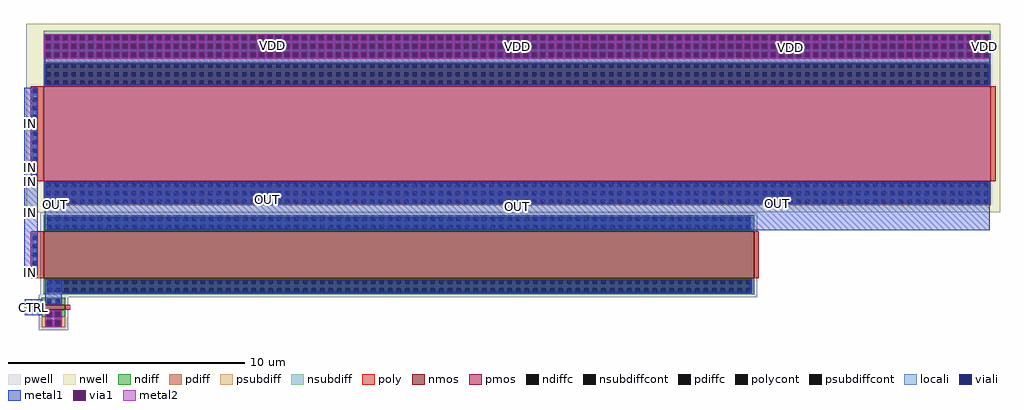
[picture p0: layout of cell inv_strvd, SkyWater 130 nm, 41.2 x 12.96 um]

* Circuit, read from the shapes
.subckt inv_strvd CTRL OUT IN VSS VDD
XM1 n1 CTRL VSS VSS sky130_fd_pr__nfet_01v8 w=1 l=0.2
XM2 OUT IN n1 VSS sky130_fd_pr__nfet_01v8 w=30 l=2
XM3 VDD IN OUT VDD sky130_fd_pr__pfet_01v8 w=40 l=4
.ends

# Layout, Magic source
magic
tech sky130A
magscale 1 2
<< viali >>
rect 188 2309 8142 2487
rect 196 53 230 87
rect 268 53 302 87
<< metal1 >>
rect 172 2444 179 2496
rect 231 2487 251 2496
rect 303 2487 323 2496
rect 375 2487 395 2496
rect 447 2487 467 2496
rect 519 2487 539 2496
rect 591 2487 611 2496
rect 663 2487 683 2496
rect 735 2487 755 2496
rect 807 2487 827 2496
rect 879 2487 899 2496
rect 951 2487 971 2496
rect 1023 2487 1043 2496
rect 1095 2487 1115 2496
rect 1167 2487 1187 2496
rect 1239 2487 1259 2496
rect 1311 2487 1331 2496
rect 1383 2487 1403 2496
rect 1455 2487 1475 2496
rect 1527 2487 1547 2496
rect 1599 2487 1619 2496
rect 1671 2487 1691 2496
rect 1743 2487 1763 2496
rect 1815 2487 1835 2496
rect 1887 2487 1907 2496
rect 1959 2487 1979 2496
rect 2031 2487 2051 2496
rect 2103 2487 2123 2496
rect 2175 2487 2195 2496
rect 2247 2487 2267 2496
rect 2319 2487 2339 2496
rect 2391 2487 2411 2496
rect 2463 2487 2483 2496
rect 2535 2487 2555 2496
rect 2607 2487 2627 2496
rect 2679 2487 2699 2496
rect 2751 2487 2771 2496
rect 2823 2487 2843 2496
rect 2895 2487 2915 2496
rect 2967 2487 2987 2496
rect 3039 2487 3059 2496
rect 3111 2487 3131 2496
rect 3183 2487 3203 2496
rect 3255 2487 3275 2496
rect 3327 2487 3347 2496
rect 3399 2487 3419 2496
rect 3471 2487 3491 2496
rect 3543 2487 3563 2496
rect 3615 2487 3635 2496
rect 3687 2487 3707 2496
rect 3759 2487 3779 2496
rect 3831 2487 3851 2496
rect 3903 2487 3923 2496
rect 3975 2487 3995 2496
rect 4047 2487 4067 2496
rect 4119 2487 4139 2496
rect 4191 2487 4211 2496
rect 4263 2487 4283 2496
rect 4335 2487 4355 2496
rect 4407 2487 4427 2496
rect 4479 2487 4499 2496
rect 4551 2487 4571 2496
rect 4623 2487 4643 2496
rect 4695 2487 4715 2496
rect 4767 2487 4787 2496
rect 4839 2487 4859 2496
rect 4911 2487 4931 2496
rect 4983 2487 5003 2496
rect 5055 2487 5075 2496
rect 5127 2487 5147 2496
rect 5199 2487 5219 2496
rect 5271 2487 5291 2496
rect 5343 2487 5363 2496
rect 5415 2487 5435 2496
rect 5487 2487 5507 2496
rect 5559 2487 5579 2496
rect 5631 2487 5651 2496
rect 5703 2487 5723 2496
rect 5775 2487 5795 2496
rect 5847 2487 5867 2496
rect 5919 2487 5939 2496
rect 5991 2487 6011 2496
rect 6063 2487 6083 2496
rect 6135 2487 6155 2496
rect 6207 2487 6227 2496
rect 6279 2487 6299 2496
rect 6351 2487 6371 2496
rect 6423 2487 6443 2496
rect 6495 2487 6515 2496
rect 6567 2487 6587 2496
rect 6639 2487 6659 2496
rect 6711 2487 6731 2496
rect 6783 2487 6803 2496
rect 6855 2487 6875 2496
rect 6927 2487 6947 2496
rect 6999 2487 7019 2496
rect 7071 2487 7091 2496
rect 7143 2487 7163 2496
rect 7215 2487 7235 2496
rect 7287 2487 7307 2496
rect 7359 2487 7379 2496
rect 7431 2487 7451 2496
rect 7503 2487 7523 2496
rect 7575 2487 7595 2496
rect 7647 2487 7667 2496
rect 7719 2487 7739 2496
rect 7791 2487 7811 2496
rect 7863 2487 7883 2496
rect 7935 2487 7955 2496
rect 8007 2487 8027 2496
rect 8079 2487 8099 2496
rect 8151 2444 8158 2496
rect 172 2424 188 2444
rect 8142 2424 8158 2444
rect 172 2372 179 2424
rect 8151 2372 8158 2424
rect 172 2352 188 2372
rect 8142 2352 8158 2372
rect 172 2309 179 2352
rect 8151 2309 8158 2352
rect 176 2300 179 2309
rect 231 2300 251 2309
rect 303 2300 323 2309
rect 375 2300 395 2309
rect 447 2300 467 2309
rect 519 2300 539 2309
rect 591 2300 611 2309
rect 663 2300 683 2309
rect 735 2300 755 2309
rect 807 2300 827 2309
rect 879 2300 899 2309
rect 951 2300 971 2309
rect 1023 2300 1043 2309
rect 1095 2300 1115 2309
rect 1167 2300 1187 2309
rect 1239 2300 1259 2309
rect 1311 2300 1331 2309
rect 1383 2300 1403 2309
rect 1455 2300 1475 2309
rect 1527 2300 1547 2309
rect 1599 2300 1619 2309
rect 1671 2300 1691 2309
rect 1743 2300 1763 2309
rect 1815 2300 1835 2309
rect 1887 2300 1907 2309
rect 1959 2300 1979 2309
rect 2031 2300 2051 2309
rect 2103 2300 2123 2309
rect 2175 2300 2195 2309
rect 2247 2300 2267 2309
rect 2319 2300 2339 2309
rect 2391 2300 2411 2309
rect 2463 2300 2483 2309
rect 2535 2300 2555 2309
rect 2607 2300 2627 2309
rect 2679 2300 2699 2309
rect 2751 2300 2771 2309
rect 2823 2300 2843 2309
rect 2895 2300 2915 2309
rect 2967 2300 2987 2309
rect 3039 2300 3059 2309
rect 3111 2300 3131 2309
rect 3183 2300 3203 2309
rect 3255 2300 3275 2309
rect 3327 2300 3347 2309
rect 3399 2300 3419 2309
rect 3471 2300 3491 2309
rect 3543 2300 3563 2309
rect 3615 2300 3635 2309
rect 3687 2300 3707 2309
rect 3759 2300 3779 2309
rect 3831 2300 3851 2309
rect 3903 2300 3923 2309
rect 3975 2300 3995 2309
rect 4047 2300 4067 2309
rect 4119 2300 4139 2309
rect 4191 2300 4211 2309
rect 4263 2300 4283 2309
rect 4335 2300 4355 2309
rect 4407 2300 4427 2309
rect 4479 2300 4499 2309
rect 4551 2300 4571 2309
rect 4623 2300 4643 2309
rect 4695 2300 4715 2309
rect 4767 2300 4787 2309
rect 4839 2300 4859 2309
rect 4911 2300 4931 2309
rect 4983 2300 5003 2309
rect 5055 2300 5075 2309
rect 5127 2300 5147 2309
rect 5199 2300 5219 2309
rect 5271 2300 5291 2309
rect 5343 2300 5363 2309
rect 5415 2300 5435 2309
rect 5487 2300 5507 2309
rect 5559 2300 5579 2309
rect 5631 2300 5651 2309
rect 5703 2300 5723 2309
rect 5775 2300 5795 2309
rect 5847 2300 5867 2309
rect 5919 2300 5939 2309
rect 5991 2300 6011 2309
rect 6063 2300 6083 2309
rect 6135 2300 6155 2309
rect 6207 2300 6227 2309
rect 6279 2300 6299 2309
rect 6351 2300 6371 2309
rect 6423 2300 6443 2309
rect 6495 2300 6515 2309
rect 6567 2300 6587 2309
rect 6639 2300 6659 2309
rect 6711 2300 6731 2309
rect 6783 2300 6803 2309
rect 6855 2300 6875 2309
rect 6927 2300 6947 2309
rect 6999 2300 7019 2309
rect 7071 2300 7091 2309
rect 7143 2300 7163 2309
rect 7215 2300 7235 2309
rect 7287 2300 7307 2309
rect 7359 2300 7379 2309
rect 7431 2300 7451 2309
rect 7503 2300 7523 2309
rect 7575 2300 7595 2309
rect 7647 2300 7667 2309
rect 7719 2300 7739 2309
rect 7791 2300 7811 2309
rect 7863 2300 7883 2309
rect 7935 2300 7955 2309
rect 8007 2300 8027 2309
rect 8079 2300 8099 2309
rect 8151 2300 8154 2309
rect 176 2258 8154 2300
rect 0 466 115 2050
rect 176 846 8154 1254
rect 8 127 144 263
rect 180 222 318 432
rect 180 162 318 168
rect 180 110 186 162
rect 238 110 260 162
rect 312 110 318 162
rect 180 88 318 110
rect 180 36 186 88
rect 238 36 260 88
rect 312 36 318 88
rect 180 30 318 36
<< via1 >>
rect 179 2487 231 2496
rect 251 2487 303 2496
rect 323 2487 375 2496
rect 395 2487 447 2496
rect 467 2487 519 2496
rect 539 2487 591 2496
rect 611 2487 663 2496
rect 683 2487 735 2496
rect 755 2487 807 2496
rect 827 2487 879 2496
rect 899 2487 951 2496
rect 971 2487 1023 2496
rect 1043 2487 1095 2496
rect 1115 2487 1167 2496
rect 1187 2487 1239 2496
rect 1259 2487 1311 2496
rect 1331 2487 1383 2496
rect 1403 2487 1455 2496
rect 1475 2487 1527 2496
rect 1547 2487 1599 2496
rect 1619 2487 1671 2496
rect 1691 2487 1743 2496
rect 1763 2487 1815 2496
rect 1835 2487 1887 2496
rect 1907 2487 1959 2496
rect 1979 2487 2031 2496
rect 2051 2487 2103 2496
rect 2123 2487 2175 2496
rect 2195 2487 2247 2496
rect 2267 2487 2319 2496
rect 2339 2487 2391 2496
rect 2411 2487 2463 2496
rect 2483 2487 2535 2496
rect 2555 2487 2607 2496
rect 2627 2487 2679 2496
rect 2699 2487 2751 2496
rect 2771 2487 2823 2496
rect 2843 2487 2895 2496
rect 2915 2487 2967 2496
rect 2987 2487 3039 2496
rect 3059 2487 3111 2496
rect 3131 2487 3183 2496
rect 3203 2487 3255 2496
rect 3275 2487 3327 2496
rect 3347 2487 3399 2496
rect 3419 2487 3471 2496
rect 3491 2487 3543 2496
rect 3563 2487 3615 2496
rect 3635 2487 3687 2496
rect 3707 2487 3759 2496
rect 3779 2487 3831 2496
rect 3851 2487 3903 2496
rect 3923 2487 3975 2496
rect 3995 2487 4047 2496
rect 4067 2487 4119 2496
rect 4139 2487 4191 2496
rect 4211 2487 4263 2496
rect 4283 2487 4335 2496
rect 4355 2487 4407 2496
rect 4427 2487 4479 2496
rect 4499 2487 4551 2496
rect 4571 2487 4623 2496
rect 4643 2487 4695 2496
rect 4715 2487 4767 2496
rect 4787 2487 4839 2496
rect 4859 2487 4911 2496
rect 4931 2487 4983 2496
rect 5003 2487 5055 2496
rect 5075 2487 5127 2496
rect 5147 2487 5199 2496
rect 5219 2487 5271 2496
rect 5291 2487 5343 2496
rect 5363 2487 5415 2496
rect 5435 2487 5487 2496
rect 5507 2487 5559 2496
rect 5579 2487 5631 2496
rect 5651 2487 5703 2496
rect 5723 2487 5775 2496
rect 5795 2487 5847 2496
rect 5867 2487 5919 2496
rect 5939 2487 5991 2496
rect 6011 2487 6063 2496
rect 6083 2487 6135 2496
rect 6155 2487 6207 2496
rect 6227 2487 6279 2496
rect 6299 2487 6351 2496
rect 6371 2487 6423 2496
rect 6443 2487 6495 2496
rect 6515 2487 6567 2496
rect 6587 2487 6639 2496
rect 6659 2487 6711 2496
rect 6731 2487 6783 2496
rect 6803 2487 6855 2496
rect 6875 2487 6927 2496
rect 6947 2487 6999 2496
rect 7019 2487 7071 2496
rect 7091 2487 7143 2496
rect 7163 2487 7215 2496
rect 7235 2487 7287 2496
rect 7307 2487 7359 2496
rect 7379 2487 7431 2496
rect 7451 2487 7503 2496
rect 7523 2487 7575 2496
rect 7595 2487 7647 2496
rect 7667 2487 7719 2496
rect 7739 2487 7791 2496
rect 7811 2487 7863 2496
rect 7883 2487 7935 2496
rect 7955 2487 8007 2496
rect 8027 2487 8079 2496
rect 8099 2487 8151 2496
rect 179 2444 188 2487
rect 188 2444 231 2487
rect 251 2444 303 2487
rect 323 2444 375 2487
rect 395 2444 447 2487
rect 467 2444 519 2487
rect 539 2444 591 2487
rect 611 2444 663 2487
rect 683 2444 735 2487
rect 755 2444 807 2487
rect 827 2444 879 2487
rect 899 2444 951 2487
rect 971 2444 1023 2487
rect 1043 2444 1095 2487
rect 1115 2444 1167 2487
rect 1187 2444 1239 2487
rect 1259 2444 1311 2487
rect 1331 2444 1383 2487
rect 1403 2444 1455 2487
rect 1475 2444 1527 2487
rect 1547 2444 1599 2487
rect 1619 2444 1671 2487
rect 1691 2444 1743 2487
rect 1763 2444 1815 2487
rect 1835 2444 1887 2487
rect 1907 2444 1959 2487
rect 1979 2444 2031 2487
rect 2051 2444 2103 2487
rect 2123 2444 2175 2487
rect 2195 2444 2247 2487
rect 2267 2444 2319 2487
rect 2339 2444 2391 2487
rect 2411 2444 2463 2487
rect 2483 2444 2535 2487
rect 2555 2444 2607 2487
rect 2627 2444 2679 2487
rect 2699 2444 2751 2487
rect 2771 2444 2823 2487
rect 2843 2444 2895 2487
rect 2915 2444 2967 2487
rect 2987 2444 3039 2487
rect 3059 2444 3111 2487
rect 3131 2444 3183 2487
rect 3203 2444 3255 2487
rect 3275 2444 3327 2487
rect 3347 2444 3399 2487
rect 3419 2444 3471 2487
rect 3491 2444 3543 2487
rect 3563 2444 3615 2487
rect 3635 2444 3687 2487
rect 3707 2444 3759 2487
rect 3779 2444 3831 2487
rect 3851 2444 3903 2487
rect 3923 2444 3975 2487
rect 3995 2444 4047 2487
rect 4067 2444 4119 2487
rect 4139 2444 4191 2487
rect 4211 2444 4263 2487
rect 4283 2444 4335 2487
rect 4355 2444 4407 2487
rect 4427 2444 4479 2487
rect 4499 2444 4551 2487
rect 4571 2444 4623 2487
rect 4643 2444 4695 2487
rect 4715 2444 4767 2487
rect 4787 2444 4839 2487
rect 4859 2444 4911 2487
rect 4931 2444 4983 2487
rect 5003 2444 5055 2487
rect 5075 2444 5127 2487
rect 5147 2444 5199 2487
rect 5219 2444 5271 2487
rect 5291 2444 5343 2487
rect 5363 2444 5415 2487
rect 5435 2444 5487 2487
rect 5507 2444 5559 2487
rect 5579 2444 5631 2487
rect 5651 2444 5703 2487
rect 5723 2444 5775 2487
rect 5795 2444 5847 2487
rect 5867 2444 5919 2487
rect 5939 2444 5991 2487
rect 6011 2444 6063 2487
rect 6083 2444 6135 2487
rect 6155 2444 6207 2487
rect 6227 2444 6279 2487
rect 6299 2444 6351 2487
rect 6371 2444 6423 2487
rect 6443 2444 6495 2487
rect 6515 2444 6567 2487
rect 6587 2444 6639 2487
rect 6659 2444 6711 2487
rect 6731 2444 6783 2487
rect 6803 2444 6855 2487
rect 6875 2444 6927 2487
rect 6947 2444 6999 2487
rect 7019 2444 7071 2487
rect 7091 2444 7143 2487
rect 7163 2444 7215 2487
rect 7235 2444 7287 2487
rect 7307 2444 7359 2487
rect 7379 2444 7431 2487
rect 7451 2444 7503 2487
rect 7523 2444 7575 2487
rect 7595 2444 7647 2487
rect 7667 2444 7719 2487
rect 7739 2444 7791 2487
rect 7811 2444 7863 2487
rect 7883 2444 7935 2487
rect 7955 2444 8007 2487
rect 8027 2444 8079 2487
rect 8099 2444 8142 2487
rect 8142 2444 8151 2487
rect 179 2372 188 2424
rect 188 2372 231 2424
rect 251 2372 303 2424
rect 323 2372 375 2424
rect 395 2372 447 2424
rect 467 2372 519 2424
rect 539 2372 591 2424
rect 611 2372 663 2424
rect 683 2372 735 2424
rect 755 2372 807 2424
rect 827 2372 879 2424
rect 899 2372 951 2424
rect 971 2372 1023 2424
rect 1043 2372 1095 2424
rect 1115 2372 1167 2424
rect 1187 2372 1239 2424
rect 1259 2372 1311 2424
rect 1331 2372 1383 2424
rect 1403 2372 1455 2424
rect 1475 2372 1527 2424
rect 1547 2372 1599 2424
rect 1619 2372 1671 2424
rect 1691 2372 1743 2424
rect 1763 2372 1815 2424
rect 1835 2372 1887 2424
rect 1907 2372 1959 2424
rect 1979 2372 2031 2424
rect 2051 2372 2103 2424
rect 2123 2372 2175 2424
rect 2195 2372 2247 2424
rect 2267 2372 2319 2424
rect 2339 2372 2391 2424
rect 2411 2372 2463 2424
rect 2483 2372 2535 2424
rect 2555 2372 2607 2424
rect 2627 2372 2679 2424
rect 2699 2372 2751 2424
rect 2771 2372 2823 2424
rect 2843 2372 2895 2424
rect 2915 2372 2967 2424
rect 2987 2372 3039 2424
rect 3059 2372 3111 2424
rect 3131 2372 3183 2424
rect 3203 2372 3255 2424
rect 3275 2372 3327 2424
rect 3347 2372 3399 2424
rect 3419 2372 3471 2424
rect 3491 2372 3543 2424
rect 3563 2372 3615 2424
rect 3635 2372 3687 2424
rect 3707 2372 3759 2424
rect 3779 2372 3831 2424
rect 3851 2372 3903 2424
rect 3923 2372 3975 2424
rect 3995 2372 4047 2424
rect 4067 2372 4119 2424
rect 4139 2372 4191 2424
rect 4211 2372 4263 2424
rect 4283 2372 4335 2424
rect 4355 2372 4407 2424
rect 4427 2372 4479 2424
rect 4499 2372 4551 2424
rect 4571 2372 4623 2424
rect 4643 2372 4695 2424
rect 4715 2372 4767 2424
rect 4787 2372 4839 2424
rect 4859 2372 4911 2424
rect 4931 2372 4983 2424
rect 5003 2372 5055 2424
rect 5075 2372 5127 2424
rect 5147 2372 5199 2424
rect 5219 2372 5271 2424
rect 5291 2372 5343 2424
rect 5363 2372 5415 2424
rect 5435 2372 5487 2424
rect 5507 2372 5559 2424
rect 5579 2372 5631 2424
rect 5651 2372 5703 2424
rect 5723 2372 5775 2424
rect 5795 2372 5847 2424
rect 5867 2372 5919 2424
rect 5939 2372 5991 2424
rect 6011 2372 6063 2424
rect 6083 2372 6135 2424
rect 6155 2372 6207 2424
rect 6227 2372 6279 2424
rect 6299 2372 6351 2424
rect 6371 2372 6423 2424
rect 6443 2372 6495 2424
rect 6515 2372 6567 2424
rect 6587 2372 6639 2424
rect 6659 2372 6711 2424
rect 6731 2372 6783 2424
rect 6803 2372 6855 2424
rect 6875 2372 6927 2424
rect 6947 2372 6999 2424
rect 7019 2372 7071 2424
rect 7091 2372 7143 2424
rect 7163 2372 7215 2424
rect 7235 2372 7287 2424
rect 7307 2372 7359 2424
rect 7379 2372 7431 2424
rect 7451 2372 7503 2424
rect 7523 2372 7575 2424
rect 7595 2372 7647 2424
rect 7667 2372 7719 2424
rect 7739 2372 7791 2424
rect 7811 2372 7863 2424
rect 7883 2372 7935 2424
rect 7955 2372 8007 2424
rect 8027 2372 8079 2424
rect 8099 2372 8142 2424
rect 8142 2372 8151 2424
rect 179 2309 188 2352
rect 188 2309 231 2352
rect 251 2309 303 2352
rect 323 2309 375 2352
rect 395 2309 447 2352
rect 467 2309 519 2352
rect 539 2309 591 2352
rect 611 2309 663 2352
rect 683 2309 735 2352
rect 755 2309 807 2352
rect 827 2309 879 2352
rect 899 2309 951 2352
rect 971 2309 1023 2352
rect 1043 2309 1095 2352
rect 1115 2309 1167 2352
rect 1187 2309 1239 2352
rect 1259 2309 1311 2352
rect 1331 2309 1383 2352
rect 1403 2309 1455 2352
rect 1475 2309 1527 2352
rect 1547 2309 1599 2352
rect 1619 2309 1671 2352
rect 1691 2309 1743 2352
rect 1763 2309 1815 2352
rect 1835 2309 1887 2352
rect 1907 2309 1959 2352
rect 1979 2309 2031 2352
rect 2051 2309 2103 2352
rect 2123 2309 2175 2352
rect 2195 2309 2247 2352
rect 2267 2309 2319 2352
rect 2339 2309 2391 2352
rect 2411 2309 2463 2352
rect 2483 2309 2535 2352
rect 2555 2309 2607 2352
rect 2627 2309 2679 2352
rect 2699 2309 2751 2352
rect 2771 2309 2823 2352
rect 2843 2309 2895 2352
rect 2915 2309 2967 2352
rect 2987 2309 3039 2352
rect 3059 2309 3111 2352
rect 3131 2309 3183 2352
rect 3203 2309 3255 2352
rect 3275 2309 3327 2352
rect 3347 2309 3399 2352
rect 3419 2309 3471 2352
rect 3491 2309 3543 2352
rect 3563 2309 3615 2352
rect 3635 2309 3687 2352
rect 3707 2309 3759 2352
rect 3779 2309 3831 2352
rect 3851 2309 3903 2352
rect 3923 2309 3975 2352
rect 3995 2309 4047 2352
rect 4067 2309 4119 2352
rect 4139 2309 4191 2352
rect 4211 2309 4263 2352
rect 4283 2309 4335 2352
rect 4355 2309 4407 2352
rect 4427 2309 4479 2352
rect 4499 2309 4551 2352
rect 4571 2309 4623 2352
rect 4643 2309 4695 2352
rect 4715 2309 4767 2352
rect 4787 2309 4839 2352
rect 4859 2309 4911 2352
rect 4931 2309 4983 2352
rect 5003 2309 5055 2352
rect 5075 2309 5127 2352
rect 5147 2309 5199 2352
rect 5219 2309 5271 2352
rect 5291 2309 5343 2352
rect 5363 2309 5415 2352
rect 5435 2309 5487 2352
rect 5507 2309 5559 2352
rect 5579 2309 5631 2352
rect 5651 2309 5703 2352
rect 5723 2309 5775 2352
rect 5795 2309 5847 2352
rect 5867 2309 5919 2352
rect 5939 2309 5991 2352
rect 6011 2309 6063 2352
rect 6083 2309 6135 2352
rect 6155 2309 6207 2352
rect 6227 2309 6279 2352
rect 6299 2309 6351 2352
rect 6371 2309 6423 2352
rect 6443 2309 6495 2352
rect 6515 2309 6567 2352
rect 6587 2309 6639 2352
rect 6659 2309 6711 2352
rect 6731 2309 6783 2352
rect 6803 2309 6855 2352
rect 6875 2309 6927 2352
rect 6947 2309 6999 2352
rect 7019 2309 7071 2352
rect 7091 2309 7143 2352
rect 7163 2309 7215 2352
rect 7235 2309 7287 2352
rect 7307 2309 7359 2352
rect 7379 2309 7431 2352
rect 7451 2309 7503 2352
rect 7523 2309 7575 2352
rect 7595 2309 7647 2352
rect 7667 2309 7719 2352
rect 7739 2309 7791 2352
rect 7811 2309 7863 2352
rect 7883 2309 7935 2352
rect 7955 2309 8007 2352
rect 8027 2309 8079 2352
rect 8099 2309 8142 2352
rect 8142 2309 8151 2352
rect 179 2300 231 2309
rect 251 2300 303 2309
rect 323 2300 375 2309
rect 395 2300 447 2309
rect 467 2300 519 2309
rect 539 2300 591 2309
rect 611 2300 663 2309
rect 683 2300 735 2309
rect 755 2300 807 2309
rect 827 2300 879 2309
rect 899 2300 951 2309
rect 971 2300 1023 2309
rect 1043 2300 1095 2309
rect 1115 2300 1167 2309
rect 1187 2300 1239 2309
rect 1259 2300 1311 2309
rect 1331 2300 1383 2309
rect 1403 2300 1455 2309
rect 1475 2300 1527 2309
rect 1547 2300 1599 2309
rect 1619 2300 1671 2309
rect 1691 2300 1743 2309
rect 1763 2300 1815 2309
rect 1835 2300 1887 2309
rect 1907 2300 1959 2309
rect 1979 2300 2031 2309
rect 2051 2300 2103 2309
rect 2123 2300 2175 2309
rect 2195 2300 2247 2309
rect 2267 2300 2319 2309
rect 2339 2300 2391 2309
rect 2411 2300 2463 2309
rect 2483 2300 2535 2309
rect 2555 2300 2607 2309
rect 2627 2300 2679 2309
rect 2699 2300 2751 2309
rect 2771 2300 2823 2309
rect 2843 2300 2895 2309
rect 2915 2300 2967 2309
rect 2987 2300 3039 2309
rect 3059 2300 3111 2309
rect 3131 2300 3183 2309
rect 3203 2300 3255 2309
rect 3275 2300 3327 2309
rect 3347 2300 3399 2309
rect 3419 2300 3471 2309
rect 3491 2300 3543 2309
rect 3563 2300 3615 2309
rect 3635 2300 3687 2309
rect 3707 2300 3759 2309
rect 3779 2300 3831 2309
rect 3851 2300 3903 2309
rect 3923 2300 3975 2309
rect 3995 2300 4047 2309
rect 4067 2300 4119 2309
rect 4139 2300 4191 2309
rect 4211 2300 4263 2309
rect 4283 2300 4335 2309
rect 4355 2300 4407 2309
rect 4427 2300 4479 2309
rect 4499 2300 4551 2309
rect 4571 2300 4623 2309
rect 4643 2300 4695 2309
rect 4715 2300 4767 2309
rect 4787 2300 4839 2309
rect 4859 2300 4911 2309
rect 4931 2300 4983 2309
rect 5003 2300 5055 2309
rect 5075 2300 5127 2309
rect 5147 2300 5199 2309
rect 5219 2300 5271 2309
rect 5291 2300 5343 2309
rect 5363 2300 5415 2309
rect 5435 2300 5487 2309
rect 5507 2300 5559 2309
rect 5579 2300 5631 2309
rect 5651 2300 5703 2309
rect 5723 2300 5775 2309
rect 5795 2300 5847 2309
rect 5867 2300 5919 2309
rect 5939 2300 5991 2309
rect 6011 2300 6063 2309
rect 6083 2300 6135 2309
rect 6155 2300 6207 2309
rect 6227 2300 6279 2309
rect 6299 2300 6351 2309
rect 6371 2300 6423 2309
rect 6443 2300 6495 2309
rect 6515 2300 6567 2309
rect 6587 2300 6639 2309
rect 6659 2300 6711 2309
rect 6731 2300 6783 2309
rect 6803 2300 6855 2309
rect 6875 2300 6927 2309
rect 6947 2300 6999 2309
rect 7019 2300 7071 2309
rect 7091 2300 7143 2309
rect 7163 2300 7215 2309
rect 7235 2300 7287 2309
rect 7307 2300 7359 2309
rect 7379 2300 7431 2309
rect 7451 2300 7503 2309
rect 7523 2300 7575 2309
rect 7595 2300 7647 2309
rect 7667 2300 7719 2309
rect 7739 2300 7791 2309
rect 7811 2300 7863 2309
rect 7883 2300 7935 2309
rect 7955 2300 8007 2309
rect 8027 2300 8079 2309
rect 8099 2300 8151 2309
rect 186 110 238 162
rect 260 110 312 162
rect 186 87 238 88
rect 186 53 196 87
rect 196 53 230 87
rect 230 53 238 87
rect 186 36 238 53
rect 260 87 312 88
rect 260 53 268 87
rect 268 53 302 87
rect 302 53 312 87
rect 260 36 312 53
<< metal2 >>
rect 173 2496 8157 2502
rect 173 2444 179 2496
rect 231 2444 251 2496
rect 303 2444 323 2496
rect 375 2444 395 2496
rect 447 2444 467 2496
rect 519 2444 539 2496
rect 591 2444 611 2496
rect 663 2444 683 2496
rect 735 2444 755 2496
rect 807 2444 827 2496
rect 879 2444 899 2496
rect 951 2444 971 2496
rect 1023 2444 1043 2496
rect 1095 2444 1115 2496
rect 1167 2444 1187 2496
rect 1239 2444 1259 2496
rect 1311 2444 1331 2496
rect 1383 2444 1403 2496
rect 1455 2444 1475 2496
rect 1527 2444 1547 2496
rect 1599 2444 1619 2496
rect 1671 2444 1691 2496
rect 1743 2444 1763 2496
rect 1815 2444 1835 2496
rect 1887 2444 1907 2496
rect 1959 2444 1979 2496
rect 2031 2444 2051 2496
rect 2103 2444 2123 2496
rect 2175 2444 2195 2496
rect 2247 2444 2267 2496
rect 2319 2444 2339 2496
rect 2391 2444 2411 2496
rect 2463 2444 2483 2496
rect 2535 2444 2555 2496
rect 2607 2444 2627 2496
rect 2679 2444 2699 2496
rect 2751 2444 2771 2496
rect 2823 2444 2843 2496
rect 2895 2444 2915 2496
rect 2967 2444 2987 2496
rect 3039 2444 3059 2496
rect 3111 2444 3131 2496
rect 3183 2444 3203 2496
rect 3255 2444 3275 2496
rect 3327 2444 3347 2496
rect 3399 2444 3419 2496
rect 3471 2444 3491 2496
rect 3543 2444 3563 2496
rect 3615 2444 3635 2496
rect 3687 2444 3707 2496
rect 3759 2444 3779 2496
rect 3831 2444 3851 2496
rect 3903 2444 3923 2496
rect 3975 2444 3995 2496
rect 4047 2444 4067 2496
rect 4119 2444 4139 2496
rect 4191 2444 4211 2496
rect 4263 2444 4283 2496
rect 4335 2444 4355 2496
rect 4407 2444 4427 2496
rect 4479 2444 4499 2496
rect 4551 2444 4571 2496
rect 4623 2444 4643 2496
rect 4695 2444 4715 2496
rect 4767 2444 4787 2496
rect 4839 2444 4859 2496
rect 4911 2444 4931 2496
rect 4983 2444 5003 2496
rect 5055 2444 5075 2496
rect 5127 2444 5147 2496
rect 5199 2444 5219 2496
rect 5271 2444 5291 2496
rect 5343 2444 5363 2496
rect 5415 2444 5435 2496
rect 5487 2444 5507 2496
rect 5559 2444 5579 2496
rect 5631 2444 5651 2496
rect 5703 2444 5723 2496
rect 5775 2444 5795 2496
rect 5847 2444 5867 2496
rect 5919 2444 5939 2496
rect 5991 2444 6011 2496
rect 6063 2444 6083 2496
rect 6135 2444 6155 2496
rect 6207 2444 6227 2496
rect 6279 2444 6299 2496
rect 6351 2444 6371 2496
rect 6423 2444 6443 2496
rect 6495 2444 6515 2496
rect 6567 2444 6587 2496
rect 6639 2444 6659 2496
rect 6711 2444 6731 2496
rect 6783 2444 6803 2496
rect 6855 2444 6875 2496
rect 6927 2444 6947 2496
rect 6999 2444 7019 2496
rect 7071 2444 7091 2496
rect 7143 2444 7163 2496
rect 7215 2444 7235 2496
rect 7287 2444 7307 2496
rect 7359 2444 7379 2496
rect 7431 2444 7451 2496
rect 7503 2444 7523 2496
rect 7575 2444 7595 2496
rect 7647 2444 7667 2496
rect 7719 2444 7739 2496
rect 7791 2444 7811 2496
rect 7863 2444 7883 2496
rect 7935 2444 7955 2496
rect 8007 2444 8027 2496
rect 8079 2444 8099 2496
rect 8151 2444 8157 2496
rect 173 2424 8157 2444
rect 173 2372 179 2424
rect 231 2372 251 2424
rect 303 2372 323 2424
rect 375 2372 395 2424
rect 447 2372 467 2424
rect 519 2372 539 2424
rect 591 2372 611 2424
rect 663 2372 683 2424
rect 735 2372 755 2424
rect 807 2372 827 2424
rect 879 2372 899 2424
rect 951 2372 971 2424
rect 1023 2372 1043 2424
rect 1095 2372 1115 2424
rect 1167 2372 1187 2424
rect 1239 2372 1259 2424
rect 1311 2372 1331 2424
rect 1383 2372 1403 2424
rect 1455 2372 1475 2424
rect 1527 2372 1547 2424
rect 1599 2372 1619 2424
rect 1671 2372 1691 2424
rect 1743 2372 1763 2424
rect 1815 2372 1835 2424
rect 1887 2372 1907 2424
rect 1959 2372 1979 2424
rect 2031 2372 2051 2424
rect 2103 2372 2123 2424
rect 2175 2372 2195 2424
rect 2247 2372 2267 2424
rect 2319 2372 2339 2424
rect 2391 2372 2411 2424
rect 2463 2372 2483 2424
rect 2535 2372 2555 2424
rect 2607 2372 2627 2424
rect 2679 2372 2699 2424
rect 2751 2372 2771 2424
rect 2823 2372 2843 2424
rect 2895 2372 2915 2424
rect 2967 2372 2987 2424
rect 3039 2372 3059 2424
rect 3111 2372 3131 2424
rect 3183 2372 3203 2424
rect 3255 2372 3275 2424
rect 3327 2372 3347 2424
rect 3399 2372 3419 2424
rect 3471 2372 3491 2424
rect 3543 2372 3563 2424
rect 3615 2372 3635 2424
rect 3687 2372 3707 2424
rect 3759 2372 3779 2424
rect 3831 2372 3851 2424
rect 3903 2372 3923 2424
rect 3975 2372 3995 2424
rect 4047 2372 4067 2424
rect 4119 2372 4139 2424
rect 4191 2372 4211 2424
rect 4263 2372 4283 2424
rect 4335 2372 4355 2424
rect 4407 2372 4427 2424
rect 4479 2372 4499 2424
rect 4551 2372 4571 2424
rect 4623 2372 4643 2424
rect 4695 2372 4715 2424
rect 4767 2372 4787 2424
rect 4839 2372 4859 2424
rect 4911 2372 4931 2424
rect 4983 2372 5003 2424
rect 5055 2372 5075 2424
rect 5127 2372 5147 2424
rect 5199 2372 5219 2424
rect 5271 2372 5291 2424
rect 5343 2372 5363 2424
rect 5415 2372 5435 2424
rect 5487 2372 5507 2424
rect 5559 2372 5579 2424
rect 5631 2372 5651 2424
rect 5703 2372 5723 2424
rect 5775 2372 5795 2424
rect 5847 2372 5867 2424
rect 5919 2372 5939 2424
rect 5991 2372 6011 2424
rect 6063 2372 6083 2424
rect 6135 2372 6155 2424
rect 6207 2372 6227 2424
rect 6279 2372 6299 2424
rect 6351 2372 6371 2424
rect 6423 2372 6443 2424
rect 6495 2372 6515 2424
rect 6567 2372 6587 2424
rect 6639 2372 6659 2424
rect 6711 2372 6731 2424
rect 6783 2372 6803 2424
rect 6855 2372 6875 2424
rect 6927 2372 6947 2424
rect 6999 2372 7019 2424
rect 7071 2372 7091 2424
rect 7143 2372 7163 2424
rect 7215 2372 7235 2424
rect 7287 2372 7307 2424
rect 7359 2372 7379 2424
rect 7431 2372 7451 2424
rect 7503 2372 7523 2424
rect 7575 2372 7595 2424
rect 7647 2372 7667 2424
rect 7719 2372 7739 2424
rect 7791 2372 7811 2424
rect 7863 2372 7883 2424
rect 7935 2372 7955 2424
rect 8007 2372 8027 2424
rect 8079 2372 8099 2424
rect 8151 2372 8157 2424
rect 173 2352 8157 2372
rect 173 2300 179 2352
rect 231 2300 251 2352
rect 303 2300 323 2352
rect 375 2300 395 2352
rect 447 2300 467 2352
rect 519 2300 539 2352
rect 591 2300 611 2352
rect 663 2300 683 2352
rect 735 2300 755 2352
rect 807 2300 827 2352
rect 879 2300 899 2352
rect 951 2300 971 2352
rect 1023 2300 1043 2352
rect 1095 2300 1115 2352
rect 1167 2300 1187 2352
rect 1239 2300 1259 2352
rect 1311 2300 1331 2352
rect 1383 2300 1403 2352
rect 1455 2300 1475 2352
rect 1527 2300 1547 2352
rect 1599 2300 1619 2352
rect 1671 2300 1691 2352
rect 1743 2300 1763 2352
rect 1815 2300 1835 2352
rect 1887 2300 1907 2352
rect 1959 2300 1979 2352
rect 2031 2300 2051 2352
rect 2103 2300 2123 2352
rect 2175 2300 2195 2352
rect 2247 2300 2267 2352
rect 2319 2300 2339 2352
rect 2391 2300 2411 2352
rect 2463 2300 2483 2352
rect 2535 2300 2555 2352
rect 2607 2300 2627 2352
rect 2679 2300 2699 2352
rect 2751 2300 2771 2352
rect 2823 2300 2843 2352
rect 2895 2300 2915 2352
rect 2967 2300 2987 2352
rect 3039 2300 3059 2352
rect 3111 2300 3131 2352
rect 3183 2300 3203 2352
rect 3255 2300 3275 2352
rect 3327 2300 3347 2352
rect 3399 2300 3419 2352
rect 3471 2300 3491 2352
rect 3543 2300 3563 2352
rect 3615 2300 3635 2352
rect 3687 2300 3707 2352
rect 3759 2300 3779 2352
rect 3831 2300 3851 2352
rect 3903 2300 3923 2352
rect 3975 2300 3995 2352
rect 4047 2300 4067 2352
rect 4119 2300 4139 2352
rect 4191 2300 4211 2352
rect 4263 2300 4283 2352
rect 4335 2300 4355 2352
rect 4407 2300 4427 2352
rect 4479 2300 4499 2352
rect 4551 2300 4571 2352
rect 4623 2300 4643 2352
rect 4695 2300 4715 2352
rect 4767 2300 4787 2352
rect 4839 2300 4859 2352
rect 4911 2300 4931 2352
rect 4983 2300 5003 2352
rect 5055 2300 5075 2352
rect 5127 2300 5147 2352
rect 5199 2300 5219 2352
rect 5271 2300 5291 2352
rect 5343 2300 5363 2352
rect 5415 2300 5435 2352
rect 5487 2300 5507 2352
rect 5559 2300 5579 2352
rect 5631 2300 5651 2352
rect 5703 2300 5723 2352
rect 5775 2300 5795 2352
rect 5847 2300 5867 2352
rect 5919 2300 5939 2352
rect 5991 2300 6011 2352
rect 6063 2300 6083 2352
rect 6135 2300 6155 2352
rect 6207 2300 6227 2352
rect 6279 2300 6299 2352
rect 6351 2300 6371 2352
rect 6423 2300 6443 2352
rect 6495 2300 6515 2352
rect 6567 2300 6587 2352
rect 6639 2300 6659 2352
rect 6711 2300 6731 2352
rect 6783 2300 6803 2352
rect 6855 2300 6875 2352
rect 6927 2300 6947 2352
rect 6999 2300 7019 2352
rect 7071 2300 7091 2352
rect 7143 2300 7163 2352
rect 7215 2300 7235 2352
rect 7287 2300 7307 2352
rect 7359 2300 7379 2352
rect 7431 2300 7451 2352
rect 7503 2300 7523 2352
rect 7575 2300 7595 2352
rect 7647 2300 7667 2352
rect 7719 2300 7739 2352
rect 7791 2300 7811 2352
rect 7863 2300 7883 2352
rect 7935 2300 7955 2352
rect 8007 2300 8027 2352
rect 8079 2300 8099 2352
rect 8151 2300 8157 2352
rect 173 2294 8157 2300
rect 180 162 318 168
rect 180 110 186 162
rect 238 110 260 162
rect 312 110 318 162
rect 180 88 318 110
rect 180 36 186 88
rect 238 36 260 88
rect 312 36 318 88
rect 180 30 318 36
use nfet$1  nfet$1_0
transform 0 -1 6205 1 0 282
box -1 0 715 6146
use nfet$2  nfet$2_0
transform 0 -1 389 -1 0 300
box -1 0 301 346
use pfet  pfet_0
transform 0 -1 8241 1 0 996
box 0 0 1595 8220
<< labels >>
flabel metal1 s 18 137 134 250 0 FreeSans 44 0 0 0 CTRL
port 2 nsew
flabel metal1 s 176 846 8154 1254 0 FreeSans 44 0 0 0 OUT
port 3 nsew
flabel metal1 s 266 1067 266 1067 0 FreeSans 44 0 0 0 OUT
flabel metal1 s 4296 1065 4296 1065 0 FreeSans 44 0 0 0 OUT
flabel metal1 s 6363 1072 6363 1072 0 FreeSans 44 0 0 0 OUT
flabel metal1 s 2054 1101 2054 1101 0 FreeSans 44 0 0 0 OUT
flabel metal1 s 0 466 115 2050 0 FreeSans 44 0 0 0 IN
port 4 nsew
flabel metal1 s 55 491 55 491 0 FreeSans 44 0 0 0 IN
flabel metal1 s 56 1378 56 1378 0 FreeSans 44 0 0 0 IN
flabel metal1 s 56 1745 56 1745 0 FreeSans 44 0 0 0 IN
flabel metal1 s 58 992 58 992 0 FreeSans 44 0 0 0 IN
flabel metal2 s 180 30 318 168 0 FreeSans 44 0 0 0 VSS
port 6 nsew
flabel metal2 s 173 2294 8157 2502 0 FreeSans 44 0 0 0 VDD
port 7 nsew
flabel metal2 s 8112 2401 8112 2401 0 FreeSans 44 0 0 0 VDD
flabel metal2 s 4127 2395 4127 2395 0 FreeSans 44 0 0 0 VDD
flabel metal2 s 6470 2387 6470 2387 0 FreeSans 44 0 0 0 VDD
flabel metal2 s 2102 2408 2102 2408 0 FreeSans 44 0 0 0 VDD
<< end >>

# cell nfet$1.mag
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
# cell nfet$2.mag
magic
tech sky130A
magscale 1 2
<< pwell >>
rect -1 14 301 266
<< nmos >>
rect 85 40 125 240
<< ndiff >>
rect 25 193 85 240
rect 25 159 38 193
rect 72 159 85 193
rect 25 121 85 159
rect 25 87 38 121
rect 72 87 85 121
rect 25 40 85 87
rect 125 193 185 240
rect 125 159 138 193
rect 172 159 185 193
rect 125 121 185 159
rect 125 87 138 121
rect 172 87 185 121
rect 125 40 185 87
<< ndiffc >>
rect 38 159 72 193
rect 38 87 72 121
rect 138 159 172 193
rect 138 87 172 121
<< psubdiff >>
rect 185 193 275 240
rect 185 159 213 193
rect 247 159 275 193
rect 185 121 275 159
rect 185 87 213 121
rect 247 87 275 121
rect 185 40 275 87
<< psubdiffcont >>
rect 213 159 247 193
rect 213 87 247 121
<< poly >>
rect 78 330 132 346
rect 78 296 88 330
rect 122 296 132 330
rect 78 280 132 296
rect 85 240 125 280
rect 85 0 125 40
<< polycont >>
rect 88 296 122 330
<< locali >>
rect 72 296 88 330
rect 122 296 138 330
rect 38 193 72 209
rect 38 121 72 159
rect 38 71 72 87
rect 138 193 172 209
rect 138 121 172 159
rect 138 71 172 87
rect 213 193 247 209
rect 213 121 247 159
rect 213 71 247 87
<< viali >>
rect 88 296 122 330
rect 38 159 72 193
rect 38 87 72 121
rect 138 159 172 193
rect 138 87 172 121
<< metal1 >>
rect 68 330 142 336
rect 68 296 88 330
rect 122 296 142 330
rect 68 290 142 296
rect 32 193 78 205
rect 32 159 38 193
rect 72 159 78 193
rect 32 121 78 159
rect 32 87 38 121
rect 72 87 78 121
rect 32 75 78 87
rect 132 193 178 205
rect 132 159 138 193
rect 172 159 178 193
rect 132 121 178 159
rect 132 87 138 121
rect 172 87 178 121
rect 132 75 178 87
<< end >>

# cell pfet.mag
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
